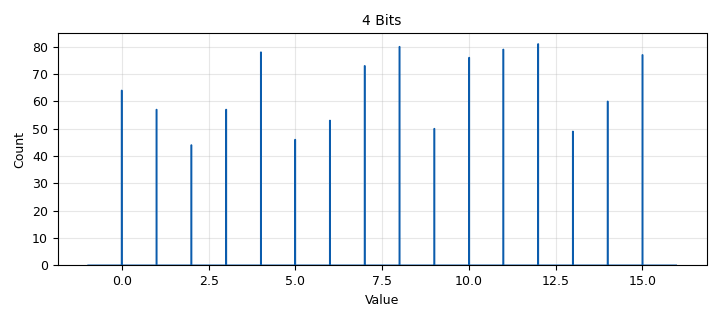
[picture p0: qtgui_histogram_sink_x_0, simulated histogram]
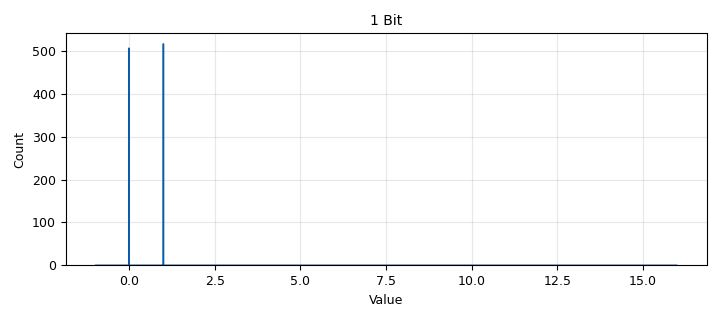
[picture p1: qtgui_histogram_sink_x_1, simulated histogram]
<?xml version='1.0' encoding='utf-8'?>
<?grc format='1' created='3.7.11'?>
<flow_graph>
<block>
<key>options</key>
<param><key>id</key><value>pack_bits</value></param>
<param><key>generate_options</key><value>qt_gui</value></param>
<param><key>title</key><value>packbits</value></param>
</block>
<block>
<key>variable</key>
<param><key>id</key><value>samp_rate</value></param>
<param><key>value</key><value>32000</value></param>
</block>
<block>
<key>analog_random_source_x</key>
<param><key>id</key><value>analog_random_source_x_0</value></param>
<param><key>max</key><value>2</value></param>
<param><key>min</key><value>0</value></param>
<param><key>num_samps</key><value>1000</value></param>
<param><key>type</key><value>byte</value></param>
<param><key>repeat</key><value>True</value></param>
</block>
<block>
<key>blocks_char_to_float</key>
<param><key>id</key><value>blocks_char_to_float_0</value></param>
<param><key>scale</key><value>1</value></param>
</block>
<block>
<key>blocks_char_to_float</key>
<param><key>id</key><value>blocks_char_to_float_1</value></param>
<param><key>scale</key><value>1</value></param>
</block>
<block>
<key>blocks_pack_k_bits_bb</key>
<param><key>id</key><value>blocks_pack_k_bits_bb_0</value></param>
<param><key>k</key><value>4</value></param>
</block>
<block>
<key>blocks_throttle</key>
<param><key>id</key><value>blocks_throttle_0</value></param>
<param><key>samples_per_second</key><value>samp_rate</value></param>
<param><key>type</key><value>byte</value></param>
</block>
<block>
<key>blocks_unpack_k_bits_bb</key>
<param><key>id</key><value>blocks_unpack_k_bits_bb_0</value></param>
<param><key>k</key><value>4</value></param>
</block>
<block>
<key>qtgui_histogram_sink_x</key>
<param><key>id</key><value>qtgui_histogram_sink_x_0</value></param>
<param><key>xmax</key><value>16</value></param>
<param><key>xmin</key><value>-1</value></param>
<param><key>name</key><value>"4 Bits"</value></param>
<param><key>bins</key><value>1024</value></param>
<param><key>size</key><value>1024</value></param>
<param><key>type</key><value>float</value></param>
</block>
<block>
<key>qtgui_histogram_sink_x</key>
<param><key>id</key><value>qtgui_histogram_sink_x_1</value></param>
<param><key>xmax</key><value>16</value></param>
<param><key>xmin</key><value>-1</value></param>
<param><key>name</key><value>"1 Bit"</value></param>
<param><key>bins</key><value>1024</value></param>
<param><key>size</key><value>1024</value></param>
<param><key>type</key><value>float</value></param>
</block>
<connection><source_block_id>analog_random_source_x_0</source_block_id><sink_block_id>blocks_throttle_0</sink_block_id><source_key>0</source_key><sink_key>0</sink_key></connection>
<connection><source_block_id>blocks_char_to_float_0</source_block_id><sink_block_id>qtgui_histogram_sink_x_0</sink_block_id><source_key>0</source_key><sink_key>0</sink_key></connection>
<connection><source_block_id>blocks_char_to_float_1</source_block_id><sink_block_id>qtgui_histogram_sink_x_1</sink_block_id><source_key>0</source_key><sink_key>0</sink_key></connection>
<connection><source_block_id>blocks_pack_k_bits_bb_0</source_block_id><sink_block_id>blocks_char_to_float_0</sink_block_id><source_key>0</source_key><sink_key>0</sink_key></connection>
<connection><source_block_id>blocks_pack_k_bits_bb_0</source_block_id><sink_block_id>blocks_unpack_k_bits_bb_0</sink_block_id><source_key>0</source_key><sink_key>0</sink_key></connection>
<connection><source_block_id>blocks_throttle_0</source_block_id><sink_block_id>blocks_pack_k_bits_bb_0</sink_block_id><source_key>0</source_key><sink_key>0</sink_key></connection>
<connection><source_block_id>blocks_unpack_k_bits_bb_0</source_block_id><sink_block_id>blocks_char_to_float_1</sink_block_id><source_key>0</source_key><sink_key>0</sink_key></connection>
</flow_graph>
